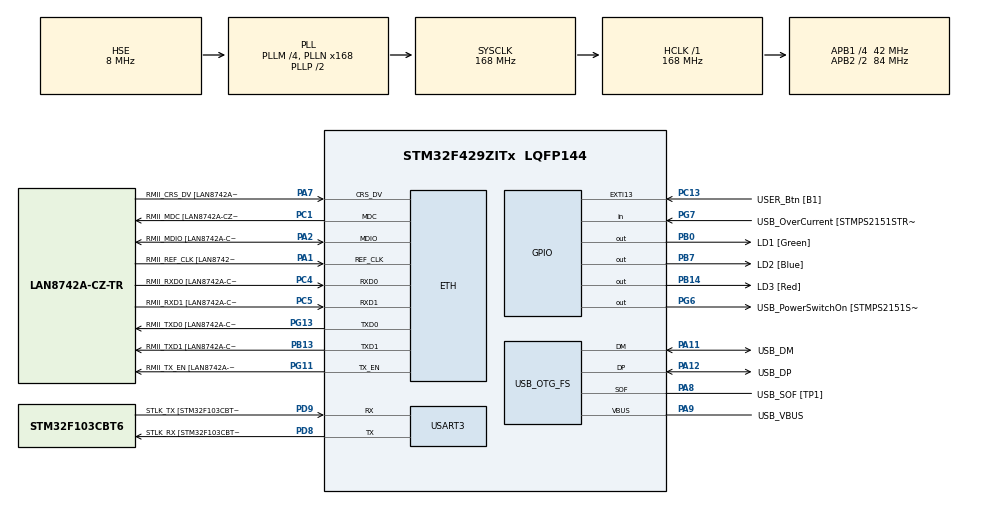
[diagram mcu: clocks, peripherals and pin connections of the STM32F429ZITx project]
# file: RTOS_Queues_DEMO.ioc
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ETH.MediaInterface=HAL_ETH_RMII_MODE
ETH.PHY_Name=LAN8742A_PHY_ADDRESS
ETH.PHY_Value=0
ETH.PhyAddress=0
FREERTOS.Tasks01=TransmitterTask,24,128,StartTransmitterTask,Default,NULL,Dynamic,NULL,NULL;ReceiverTask,24,128,StartReceiverTask,Default,NULL,Dynamic,NULL,NULL
FREERTOS.configGENERATE_RUN_TIME_STATS=1
FREERTOS.configUSE_NEWLIB_REENTRANT=1
FREERTOS.configUSE_STATS_FORMATTING_FUNCTIONS=1
Mcu.Family=STM32F4
Mcu.Name=STM32F429ZITx
Mcu.Package=LQFP144
NVIC.PriorityGroup=NVIC_PRIORITYGROUP_4
NVIC.TIM6_DAC_IRQn=true\:15\:0\:false\:false\:true\:false\:false\:true\:true
NVIC.TimeBase=TIM6_DAC_IRQn
NVIC.TimeBaseIP=TIM6
PA1.GPIO_Label=RMII_REF_CLK [LAN8742A-CZ-TR_REFCLK0]
PA1.Mode=RMII
PA1.Signal=ETH_REF_CLK
PA10.GPIO_Label=USB_ID
PA10.Signal=USB_OTG_FS_ID
PA11.GPIO_Label=USB_DM
PA11.Mode=Device_Only
PA11.Signal=USB_OTG_FS_DM
PA12.GPIO_Label=USB_DP
PA12.Mode=Device_Only
PA12.Signal=USB_OTG_FS_DP
PA13.GPIO_Label=TMS
PA13.Mode=Serial_Wire
PA13.Signal=SYS_JTMS-SWDIO
PA14.GPIO_Label=TCK
PA14.Mode=Serial_Wire
PA14.Signal=SYS_JTCK-SWCLK
PA2.GPIO_Label=RMII_MDIO [LAN8742A-CZ-TR_MDIO]
PA2.Mode=RMII
PA2.Signal=ETH_MDIO
PA7.GPIO_Label=RMII_CRS_DV [LAN8742A-CZ-TR_CRS_DV]
PA7.Mode=RMII
PA7.Signal=ETH_CRS_DV
PA8.GPIO_Label=USB_SOF [TP1]
PA8.Mode=Activate_SOF_FS
PA8.Signal=USB_OTG_FS_SOF
PA9.GPIO_Label=USB_VBUS
PA9.Mode=Activate_VBUS
PA9.Signal=USB_OTG_FS_VBUS
PB0.GPIO_Label=LD1 [Green]
PB0.Signal=GPIO_Output
PB13.GPIO_Label=RMII_TXD1 [LAN8742A-CZ-TR_TXD1]
PB13.Mode=RMII
PB13.Signal=ETH_TXD1
PB14.GPIO_Label=LD3 [Red]
PB14.Signal=GPIO_Output
PB7.GPIO_Label=LD2 [Blue]
PB7.Signal=GPIO_Output
PC1.GPIO_Label=RMII_MDC [LAN8742A-CZ-TR_MDC]
PC1.Mode=RMII
PC1.Signal=ETH_MDC
PC13.GPIO_Label=USER_Btn [B1]
PC13.Signal=GPXTI13
PC14/OSC32_IN.Mode=LSE-External-Oscillator
PC14/OSC32_IN.Signal=RCC_OSC32_IN
PC15/OSC32_OUT.Mode=LSE-External-Oscillator
PC15/OSC32_OUT.Signal=RCC_OSC32_OUT
PC4.GPIO_Label=RMII_RXD0 [LAN8742A-CZ-TR_RXD0]
PC4.Mode=RMII
PC4.Signal=ETH_RXD0
PC5.GPIO_Label=RMII_RXD1 [LAN8742A-CZ-TR_RXD1]
PC5.Mode=RMII
PC5.Signal=ETH_RXD1
PD8.GPIO_Label=STLK_RX [STM32F103CBT6_PA3]
PD8.Mode=Asynchronous
PD8.Signal=USART3_TX
PD9.GPIO_Label=STLK_TX [STM32F103CBT6_PA2]
PD9.Mode=Asynchronous
PD9.Signal=USART3_RX
PG11.GPIO_Label=RMII_TX_EN [LAN8742A-CZ-TR_TXEN]
PG11.Mode=RMII
PG11.Signal=ETH_TX_EN
PG13.GPIO_Label=RMII_TXD0 [LAN8742A-CZ-TR_TXD0]
PG13.Mode=RMII
PG13.Signal=ETH_TXD0
PG6.GPIO_Label=USB_PowerSwitchOn [STMPS2151STR_EN]
PG6.Signal=GPIO_Output
PG7.GPIO_Label=USB_OverCurrent [STMPS2151STR_FAULT]
PG7.Signal=GPIO_Input
PH0/OSC_IN.GPIO_Label=MCO [STM32F103CBT6_PA8]
PH0/OSC_IN.Mode=HSE-External-Clock-Source
PH0/OSC_IN.Signal=RCC_OSC_IN
PH1/OSC_OUT.Mode=HSE-External-Clock-Source
PH1/OSC_OUT.Signal=RCC_OSC_OUT
ProjectManager.HeapSize=0x200
ProjectManager.StackSize=0x400
ProjectManager.TargetToolchain=STM32CubeIDE
RCC.48MHZClocksFreq_Value=48000000
RCC.AHBFreq_Value=168000000
RCC.APB1CLKDivider=RCC_HCLK_DIV4
RCC.APB1Freq_Value=42000000
RCC.APB1TimFreq_Value=84000000
RCC.APB2CLKDivider=RCC_HCLK_DIV2
RCC.APB2Freq_Value=84000000
RCC.APB2TimCLKDivider=2
RCC.APB2TimFreq_Value=168000000
RCC.CortexFreq_Value=168000000
RCC.HCLKFreq_Value=168000000
RCC.HSE_VALUE=8000000
RCC.HSI_VALUE=16000000
RCC.PLLM=4
RCC.PLLMUL=RCC_PLL_MUL9
RCC.PLLN=168
RCC.PLLQ=7
RCC.PRESCALERUSB=RCC_USBCLKSOURCE_PLL_DIV1_5
RCC.SYSCLKFreq_VALUE=168000000
RCC.SYSCLKSource=RCC_SYSCLKSOURCE_PLLCLK
RCC.SYSCLKSourceVirtual=RCC_SYSCLKSOURCE_PLLCLK
RCC.USBFreq_Value=48000000
RCC.VCOOutputFreq_Value=336000000
USART3.VirtualMode=VM_ASYNC
USB_OTG_FS.VirtualMode=Device_Only
VP_FREERTOS_VS_CMSIS_V2.Mode=CMSIS_V2
VP_SYS_VS_tim6.Mode=TIM6
board=NUCLEO-F429ZI

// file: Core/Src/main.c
/* USER CODE BEGIN Header */
/**
  ******************************************************************************
  * @file           : main.c
  * @brief          : Main program body
  ******************************************************************************
  * @attention
  *
  * Copyright (c) 2025 STMicroelectronics.
  * All rights reserved.
  *
  * This software is licensed under terms that can be found in the LICENSE file
  * in the root directory of this software component.
  * If no LICENSE file comes with this software, it is provided AS-IS.
  *
  ******************************************************************************
  */
/* USER CODE END Header */
#include "main.h"
#include "string.h"
#include "cmsis_os.h"
#include "queue.h"

/* USER CODE BEGIN Includes */
#include "SEGGER_RTT.h"
/* USER CODE END Includes */

ETH_TxPacketConfig TxConfig;
ETH_DMADescTypeDef  DMARxDscrTab[ETH_RX_DESC_CNT]; /* Ethernet Rx DMA Descriptors */
ETH_DMADescTypeDef  DMATxDscrTab[ETH_TX_DESC_CNT]; /* Ethernet Tx DMA Descriptors */

ETH_HandleTypeDef heth;

UART_HandleTypeDef huart3;

PCD_HandleTypeDef hpcd_USB_OTG_FS;
QueueHandle_t myQueue;

/* Definitions for TransmitterTask */
osThreadId_t TransmitterTaskHandle;
const osThreadAttr_t TransmitterTask_attributes = {
  .name = "TransmitterTask",
  .stack_size = 128 * 4,
  .priority = (osPriority_t) osPriorityNormal,
};
/* Definitions for ReceiverTask */
osThreadId_t ReceiverTaskHandle;
const osThreadAttr_t ReceiverTask_attributes = {
  .name = "ReceiverTask",
  .stack_size = 128 * 4,
  .priority = (osPriority_t) osPriorityNormal,
};

void SystemClock_Config(void);
static void MX_GPIO_Init(void);
static void MX_ETH_Init(void);
static void MX_USART3_UART_Init(void);
static void MX_USB_OTG_FS_PCD_Init(void);
void StartTransmitterTask(void *argument);
void StartReceiverTask(void *argument);

/* USER CODE BEGIN PFP */
void RTT_Read(void);
/* USER CODE END PFP */

int main(void)
{

  /* MCU Configuration--------------------------------------------------------*/

  /* Reset of all peripherals, Initializes the Flash interface and the Systick. */
  HAL_Init();

  /* Configure the system clock */
  SystemClock_Config();

  /* Initialize all configured peripherals */
  MX_GPIO_Init();
  MX_ETH_Init();
  MX_USART3_UART_Init();
  MX_USB_OTG_FS_PCD_Init();
  /* USER CODE BEGIN 2 */
  SEGGER_RTT_ConfigUpBuffer(0, NULL, NULL, 0, SEGGER_RTT_MODE_NO_BLOCK_SKIP);
  SEGGER_RTT_printf(0,"Starting... \r\n");
  /* USER CODE END 2 */

  /* Init scheduler */
  osKernelInitialize();

  /* USER CODE BEGIN RTOS_QUEUES */
  /* add queues, ... */
  myQueue = xQueueCreate(8, sizeof(uint8_t)); // #include queue.h is deleted upon code generation
  vQueueAddToRegistry(myQueue, "myQueue");

  /* USER CODE END RTOS_QUEUES */

  /* Create the thread(s) */
  /* creation of TransmitterTask */
  TransmitterTaskHandle = osThreadNew(StartTransmitterTask, NULL, &TransmitterTask_attributes);

  /* creation of ReceiverTask */
  ReceiverTaskHandle = osThreadNew(StartReceiverTask, NULL, &ReceiverTask_attributes);

  /* Start scheduler */
  osKernelStart();

  /* We should never get here as control is now taken by the scheduler */
  /* Infinite loop */
  while (1)
  {

  }
}

void SystemClock_Config(void)
{
  RCC_OscInitTypeDef RCC_OscInitStruct = {0};
  RCC_ClkInitTypeDef RCC_ClkInitStruct = {0};

  /** Configure the main internal regulator output voltage
  */
  __HAL_RCC_PWR_CLK_ENABLE();
  __HAL_PWR_VOLTAGESCALING_CONFIG(PWR_REGULATOR_VOLTAGE_SCALE1);

  /** Initializes the RCC Oscillators according to the specified parameters
  * in the RCC_OscInitTypeDef structure.
  */
  RCC_OscInitStruct.OscillatorType = RCC_OSCILLATORTYPE_HSE;
  RCC_OscInitStruct.HSEState = RCC_HSE_BYPASS;
  RCC_OscInitStruct.PLL.PLLState = RCC_PLL_ON;
  RCC_OscInitStruct.PLL.PLLSource = RCC_PLLSOURCE_HSE;
  RCC_OscInitStruct.PLL.PLLM = 4;
  RCC_OscInitStruct.PLL.PLLN = 168;
  RCC_OscInitStruct.PLL.PLLP = RCC_PLLP_DIV2;
  RCC_OscInitStruct.PLL.PLLQ = 7;
  if (HAL_RCC_OscConfig(&RCC_OscInitStruct) != HAL_OK)
  {
    Error_Handler();
  }

  /** Initializes the CPU, AHB and APB buses clocks
  */
  RCC_ClkInitStruct.ClockType = RCC_CLOCKTYPE_HCLK|RCC_CLOCKTYPE_SYSCLK
                              |RCC_CLOCKTYPE_PCLK1|RCC_CLOCKTYPE_PCLK2;
  RCC_ClkInitStruct.SYSCLKSource = RCC_SYSCLKSOURCE_PLLCLK;
  RCC_ClkInitStruct.AHBCLKDivider = RCC_SYSCLK_DIV1;
  RCC_ClkInitStruct.APB1CLKDivider = RCC_HCLK_DIV4;
  RCC_ClkInitStruct.APB2CLKDivider = RCC_HCLK_DIV2;

  if (HAL_RCC_ClockConfig(&RCC_ClkInitStruct, FLASH_LATENCY_5) != HAL_OK)
  {
    Error_Handler();
  }
}

static void MX_ETH_Init(void)
{

   static uint8_t MACAddr[6];

  heth.Instance = ETH;
  MACAddr[0] = 0x00;
  MACAddr[1] = 0x80;
  MACAddr[2] = 0xE1;
  MACAddr[3] = 0x00;
  MACAddr[4] = 0x00;
  MACAddr[5] = 0x00;
  heth.Init.MACAddr = &MACAddr[0];
  heth.Init.MediaInterface = HAL_ETH_RMII_MODE;
  heth.Init.TxDesc = DMATxDscrTab;
  heth.Init.RxDesc = DMARxDscrTab;
  heth.Init.RxBuffLen = 1524;

  if (HAL_ETH_Init(&heth) != HAL_OK)
  {
    Error_Handler();
  }

  memset(&TxConfig, 0 , sizeof(ETH_TxPacketConfig));
  TxConfig.Attributes = ETH_TX_PACKETS_FEATURES_CSUM | ETH_TX_PACKETS_FEATURES_CRCPAD;
  TxConfig.ChecksumCtrl = ETH_CHECKSUM_IPHDR_PAYLOAD_INSERT_PHDR_CALC;
  TxConfig.CRCPadCtrl = ETH_CRC_PAD_INSERT;

}

static void MX_USART3_UART_Init(void)
{

  huart3.Instance = USART3;
  huart3.Init.BaudRate = 115200;
  huart3.Init.WordLength = UART_WORDLENGTH_8B;
  huart3.Init.StopBits = UART_STOPBITS_1;
  huart3.Init.Parity = UART_PARITY_NONE;
  huart3.Init.Mode = UART_MODE_TX_RX;
  huart3.Init.HwFlowCtl = UART_HWCONTROL_NONE;
  huart3.Init.OverSampling = UART_OVERSAMPLING_16;
  if (HAL_UART_Init(&huart3) != HAL_OK)
  {
    Error_Handler();
  }

}

static void MX_USB_OTG_FS_PCD_Init(void)
{

  hpcd_USB_OTG_FS.Instance = USB_OTG_FS;
  hpcd_USB_OTG_FS.Init.dev_endpoints = 4;
  hpcd_USB_OTG_FS.Init.speed = PCD_SPEED_FULL;
  hpcd_USB_OTG_FS.Init.dma_enable = DISABLE;
  hpcd_USB_OTG_FS.Init.phy_itface = PCD_PHY_EMBEDDED;
  hpcd_USB_OTG_FS.Init.Sof_enable = ENABLE;
  hpcd_USB_OTG_FS.Init.low_power_enable = DISABLE;
  hpcd_USB_OTG_FS.Init.lpm_enable = DISABLE;
  hpcd_USB_OTG_FS.Init.vbus_sensing_enable = ENABLE;
  hpcd_USB_OTG_FS.Init.use_dedicated_ep1 = DISABLE;
  if (HAL_PCD_Init(&hpcd_USB_OTG_FS) != HAL_OK)
  {
    Error_Handler();
  }

}

static void MX_GPIO_Init(void)
{
  GPIO_InitTypeDef GPIO_InitStruct = {0};

  /* GPIO Ports Clock Enable */
  __HAL_RCC_GPIOC_CLK_ENABLE();
  __HAL_RCC_GPIOH_CLK_ENABLE();
  __HAL_RCC_GPIOA_CLK_ENABLE();
  __HAL_RCC_GPIOB_CLK_ENABLE();
  __HAL_RCC_GPIOD_CLK_ENABLE();
  __HAL_RCC_GPIOG_CLK_ENABLE();

  /*Configure GPIO pin Output Level */
  HAL_GPIO_WritePin(GPIOB, LD1_Pin|LD3_Pin|LD2_Pin, GPIO_PIN_RESET);

  /*Configure GPIO pin Output Level */
  HAL_GPIO_WritePin(USB_PowerSwitchOn_GPIO_Port, USB_PowerSwitchOn_Pin, GPIO_PIN_RESET);

  /*Configure GPIO pin : USER_Btn_Pin */
  GPIO_InitStruct.Pin = USER_Btn_Pin;
  GPIO_InitStruct.Mode = GPIO_MODE_IT_RISING;
  GPIO_InitStruct.Pull = GPIO_NOPULL;
  HAL_GPIO_Init(USER_Btn_GPIO_Port, &GPIO_InitStruct);

  /*Configure GPIO pins : LD1_Pin LD3_Pin LD2_Pin */
  GPIO_InitStruct.Pin = LD1_Pin|LD3_Pin|LD2_Pin;
  GPIO_InitStruct.Mode = GPIO_MODE_OUTPUT_PP;
  GPIO_InitStruct.Pull = GPIO_NOPULL;
  GPIO_InitStruct.Speed = GPIO_SPEED_FREQ_LOW;
  HAL_GPIO_Init(GPIOB, &GPIO_InitStruct);

  /*Configure GPIO pin : USB_PowerSwitchOn_Pin */
  GPIO_InitStruct.Pin = USB_PowerSwitchOn_Pin;
  GPIO_InitStruct.Mode = GPIO_MODE_OUTPUT_PP;
  GPIO_InitStruct.Pull = GPIO_NOPULL;
  GPIO_InitStruct.Speed = GPIO_SPEED_FREQ_LOW;
  HAL_GPIO_Init(USB_PowerSwitchOn_GPIO_Port, &GPIO_InitStruct);

  /*Configure GPIO pin : USB_OverCurrent_Pin */
  GPIO_InitStruct.Pin = USB_OverCurrent_Pin;
  GPIO_InitStruct.Mode = GPIO_MODE_INPUT;
  GPIO_InitStruct.Pull = GPIO_NOPULL;
  HAL_GPIO_Init(USB_OverCurrent_GPIO_Port, &GPIO_InitStruct);

}

/* USER CODE BEGIN 4 */
void RTT_Read(void){
	char input;
	uint32_t size = SEGGER_RTT_Read(0, &input, 1u);
	if (size > 0){
		SEGGER_RTT_printf(0, "%c", input);
	}
}
/* USER CODE END 4 */

void StartTransmitterTask(void *argument)
{
	/* USER CODE BEGIN 5 */
	/* Infinite loop */
	uint8_t count = 0;
	for(;;)
	{
		count >= 20 ? count = 0 : count++;
		if (xQueueSend(myQueue, &count, 0) != pdPASS){
			SEGGER_RTT_printf(0, "TX error: %s is full (%d not sent)!\r\n", pcQueueGetName(myQueue), count);;  // xQueueSend(queueHandle, void* pvItemToQueue, xTickstoWait)
		}
		else SEGGER_RTT_printf(0, "TX: %d\r\n", count);
		osDelay(1000);
	}
	/* USER CODE END 5 */
}

void StartReceiverTask(void *argument)
{
	/* USER CODE BEGIN StartReceiverTask */
	/* Infinite loop */
	uint8_t count = -1;
	for(;;)
	{
		if (xQueueReceive(myQueue, &count, 0) != pdPASS){
			SEGGER_RTT_printf(0, "RX ERROR: %s is empty\r\n", (char*)pcQueueGetName(myQueue));
		}
		else SEGGER_RTT_printf(0, "RX: %d\r\n", count);
		osDelay(500);
	}
	/* USER CODE END StartReceiverTask */
}

void HAL_TIM_PeriodElapsedCallback(TIM_HandleTypeDef *htim)
{
  if (htim->Instance == TIM6) {
    HAL_IncTick();
  }
}

void Error_Handler(void)
{
  __disable_irq();
  while (1)
  {
  }
}
